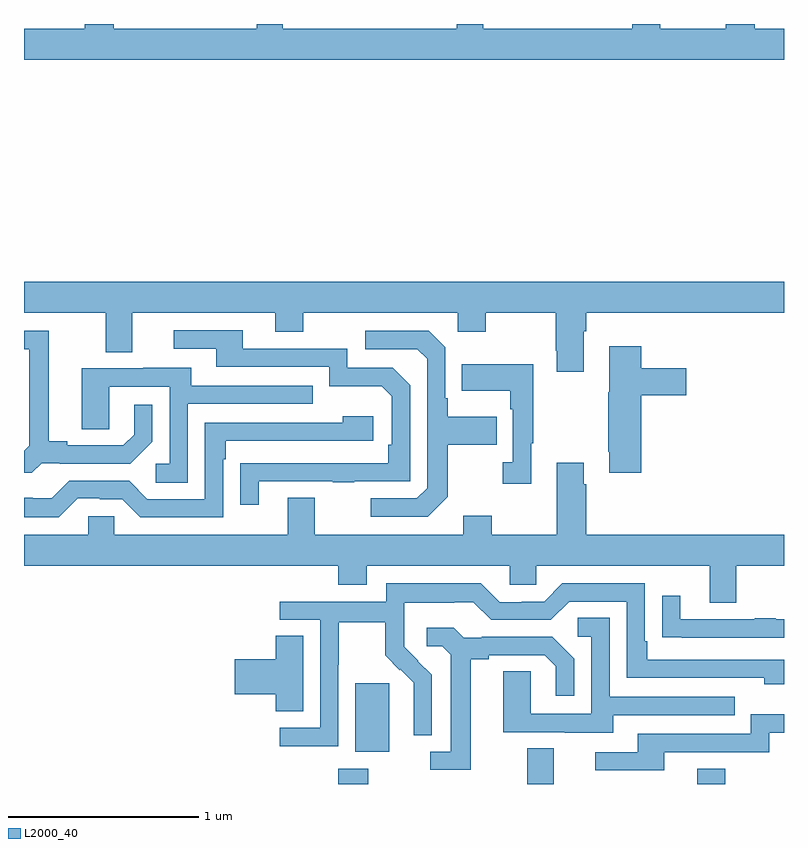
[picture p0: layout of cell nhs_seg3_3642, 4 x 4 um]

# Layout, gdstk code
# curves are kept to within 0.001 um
import gdstk
lib = gdstk.Library(unit=1e-6, precision=1e-09)
def R(c, l, rs):  # rectangles x0, y0, x1, y1
    for r in rs: c.add(gdstk.rectangle(r[:2], r[2:], *l))
def P(c, l, *ps):  # polygons
    for p in ps: c.add(gdstk.Polygon(p, *l))
L2000_40 = (2000, 40)

nhs_seg3_3642 = lib.new_cell('nhs_seg3_3642')
R(nhs_seg3_3642, L2000_40, [(300.653,734.4,300.813,734.479), (301.649,734.4,301.789,734.588), (302.543,734.4,302.691,734.479), (300.743,734.57,300.922,734.931)])
P(nhs_seg3_3642, L2000_40, [(302.201,738.4),(302.201,738.376),(301.417,738.376),(301.417,738.4),(301.277,738.4),(301.277,738.376),(300.363,738.376),(300.363,738.4),(300.225,738.4),(300.225,738.376),(299.473,738.376),(299.473,738.4),(299.321,738.4),(299.321,738.376),(299,738.376),(299,738.212),(303,738.212),(303,738.376),(302.846,738.376),(302.846,738.4),(302.693,738.4),(302.693,738.376),(302.349,738.376),(302.349,738.4)],
  [(301.945,736.784),(301.958,736.784),(301.958,736.88),(303,736.88),(303,737.044),(299,737.044),(299,736.88),(299.429,736.88),(299.429,736.672),(299.569,736.672),(299.569,736.88),(300.323,736.88),(300.323,736.781),(300.471,736.781),(300.471,736.88),(301.284,736.88),(301.284,736.781),(301.431,736.781),(301.431,736.88),(301.798,736.88),(301.798,736.681),(301.805,736.681),(301.805,736.569),(301.945,736.569)],
  [(300.235,735.993),(300.625,735.993),(300.625,735.988),(300.737,735.988),(300.737,735.993),(301.032,735.993),(301.032,736.5),(300.942,736.59),(300.702,736.59),(300.702,736.692),(300.151,736.692),(300.151,736.788),(299.787,736.788),(299.787,736.692),(300.011,736.692),(300.011,736.596),(300.606,736.596),(300.606,736.493),(300.883,736.493),(300.936,736.44),(300.936,736.186),(300.916,736.186),(300.916,736.089),(300.139,736.088),(300.139,735.87),(300.235,735.87)],
  [(299.094,736.089),(299.188,736.089),(299.188,736.086),(299.56,736.086),(299.676,736.202),(299.676,736.396),(299.579,736.396),(299.579,736.239),(299.522,736.182),(299.227,736.182),(299.227,736.205),(299.131,736.205),(299.131,736.785),(299,736.785),(299,736.689),(299.027,736.689),(299.027,736.181),(299,736.154),(299,736.037),(299.042,736.037)],
  [(301.231,735.913),(301.231,736.186),(301.487,736.186),(301.487,736.333),(301.231,736.333),(301.231,736.429),(301.218,736.429),(301.218,736.698),(301.131,736.785),(300.795,736.785),(300.795,736.689),(301.071,736.689),(301.122,736.638),(301.122,735.957),(301.068,735.903),(300.825,735.903),(300.825,735.807),(301.125,735.807)],
  [(302.249,736.445),(302.485,736.445),(302.485,736.587),(302.249,736.587),(302.249,736.705),(302.081,736.705),(302.081,736.461),(302.074,736.461),(302.074,736.15),(302.081,736.15),(302.081,736.038),(302.249,736.038)],
  [(301.669,736.193),(301.681,736.193),(301.681,736.609),(301.303,736.609),(301.303,736.469),(301.56,736.469),(301.56,736.373),(301.572,736.373),(301.572,736.094),(301.521,736.094),(301.521,735.981),(301.669,735.981)],
  [(299.862,736.401),(300.521,736.401),(300.521,736.497),(299.881,736.497),(299.881,736.591),(299.627,736.591),(299.627,736.587),(299.303,736.587),(299.303,736.267),(299.448,736.267),(299.448,736.491),(299.766,736.491),(299.766,736.086),(299.694,736.086),(299.694,735.985),(299.862,735.985)],
  [(299.283,735.903),(299.399,735.903),(299.399,735.9),(299.517,735.9),(299.613,735.804),(300.048,735.804),(300.048,736.109),(300.061,736.109),(300.061,736.206),(300.838,736.206),(300.838,736.336),(300.677,736.336),(300.677,736.302),(299.952,736.302),(299.952,735.9),(299.649,735.9),(299.553,735.996),(299.238,735.996),(299.145,735.903),(299.045,735.903),(299.045,735.907),(299,735.907),(299,735.803),(299.183,735.803)],
  [(302.749,735.548),(303,735.548),(303,735.712),(301.958,735.712),(301.958,735.977),(301.945,735.977),(301.945,736.09),(301.805,736.09),(301.805,735.712),(301.461,735.712),(301.461,735.811),(301.313,735.811),(301.313,735.712),(300.529,735.712),(300.529,735.907),(300.389,735.907),(300.389,735.712),(299.475,735.712),(299.475,735.81),(299.337,735.81),(299.337,735.712),(299,735.712),(299,735.548),(300.653,735.548),(300.653,735.449),(300.805,735.449),(300.805,735.548),(301.557,735.548),(301.557,735.45),(301.695,735.45),(301.695,735.548),(302.609,735.548),(302.609,735.354),(302.749,735.354)],
  [(300.654,735.028),(300.657,735.028),(300.657,735.252),(300.901,735.252),(300.901,735.077),(300.978,735),(300.981,735.003),(301.052,734.933),(301.052,734.81),(301.05,734.81),(301.05,734.656),(301.146,734.656),(301.146,734.974),(301,735.122),(301,735.219),(301.002,735.219),(301.002,735.353),(301.265,735.353),(301.265,735.357),(301.365,735.357),(301.458,735.264),(301.773,735.264),(301.869,735.36),(302.172,735.36),(302.172,734.958),(302.897,734.958),(302.897,734.924),(303,734.924),(303,735.054),(302.281,735.054),(302.281,735.151),(302.268,735.151),(302.268,735.456),(301.833,735.456),(301.737,735.36),(301.619,735.36),(301.619,735.357),(301.503,735.357),(301.403,735.457),(300.906,735.457),(300.906,735.36),(300.345,735.36),(300.345,735.264),(300.558,735.264),(300.558,734.697),(300.345,734.697),(300.345,734.599),(300.654,734.599)],
  [(303,735.267),(302.957,735.267),(302.957,735.272),(302.845,735.272),(302.845,735.267),(302.455,735.267),(302.455,735.391),(302.359,735.391),(302.359,735.172),(302.461,735.172),(302.461,735.171),(303,735.171)],
  [(302.101,734.763),(302.741,734.763),(302.741,734.859),(302.082,734.859),(302.082,735.275),(301.914,735.275),(301.914,735.174),(301.986,735.174),(301.986,734.769),(301.668,734.769),(301.668,734.993),(301.523,734.993),(301.523,734.673),(301.847,734.673),(301.847,734.669),(302.101,734.669)],
  [(301.351,735.056),(301.447,735.056),(301.447,735.078),(301.742,735.078),(301.799,735.021),(301.799,734.865),(301.896,734.865),(301.896,735.058),(301.78,735.174),(301.408,735.174),(301.408,735.171),(301.314,735.171),(301.262,735.223),(301.119,735.223),(301.119,735.126),(301.2,735.126),(301.247,735.079),(301.247,734.571),(301.137,734.571),(301.137,734.475),(301.351,734.475)],
  [(300.469,735.179),(300.326,735.179),(300.326,735.056),(300.108,735.056),(300.108,734.873),(300.326,734.873),(300.326,734.782),(300.469,734.782)],
  [(302.371,734.568),(302.922,734.568),(302.922,734.67),(303,734.67),(303,734.767),(302.826,734.767),(302.826,734.664),(302.231,734.664),(302.231,734.568),(302.007,734.568),(302.007,734.472),(302.371,734.472)])

lib.write_gds('nhs_seg3_3642.gds')
